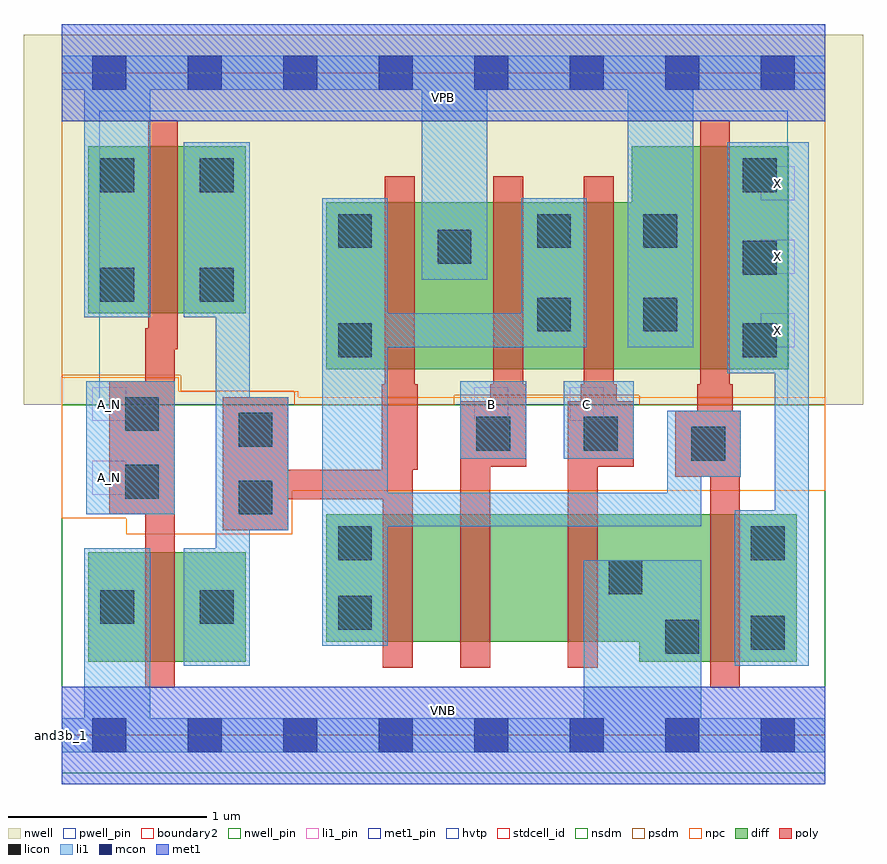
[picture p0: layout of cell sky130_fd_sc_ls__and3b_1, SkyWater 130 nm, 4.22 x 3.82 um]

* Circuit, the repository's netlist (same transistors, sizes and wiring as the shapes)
* Copyright 2020 The SkyWater PDK Authors
*
* Licensed under the Apache License, Version 2.0 (the "License");
* you may not use this file except in compliance with the License.
* You may obtain a copy of the License at
*
*     https://www.apache.org/licenses/LICENSE-2.0
*
* Unless required by applicable law or agreed to in writing, software
* distributed under the License is distributed on an "AS IS" BASIS,
* WITHOUT WARRANTIES OR CONDITIONS OF ANY KIND, either express or implied.
* See the License for the specific language governing permissions and
* limitations under the License.
*
* SPDX-License-Identifier: Apache-2.0

.SUBCKT sky130_fd_sc_ls__and3b_1 A_N B C VGND VNB VPB VPWR X
*.PININFO A_N:I B:I C:I VGND:I VNB:I VPB:I VPWR:I X:O
MMP0 y A VPWR VPB sky130_fd_pr__pfet_01v8_hvt m=1 w=0.84U l=0.15U mult=1 sa=0.265
+ sb=0.265 sd=0.28 area=0.063 perim=1.14
MMP1 y B VPWR VPB sky130_fd_pr__pfet_01v8_hvt m=1 w=0.84U l=0.15U mult=1 sa=0.265
+ sb=0.265 sd=0.28 area=0.063 perim=1.14
MMP2 y C VPWR VPB sky130_fd_pr__pfet_01v8_hvt m=1 w=0.84U l=0.15U mult=1 sa=0.265
+ sb=0.265 sd=0.28 area=0.063 perim=1.14
MMIP0 A A_N VPWR VPB sky130_fd_pr__pfet_01v8_hvt m=1 w=0.84U l=0.15U mult=1 sa=0.265
+ sb=0.265 sd=0.28 area=0.063 perim=1.14
MMIP1 X y VPWR VPB sky130_fd_pr__pfet_01v8_hvt m=1 w=1.12U l=0.15U mult=1 sa=0.265
+ sb=0.265 sd=0.28 area=0.063 perim=1.14
MMN0 y A sndA VNB sky130_fd_pr__nfet_01v8 m=1 w=0.64U l=0.15U mult=1 sa=0.265 sb=0.265
+ sd=0.28 area=0.063 perim=1.14
MMN1 sndA B sndB VNB sky130_fd_pr__nfet_01v8 m=1 w=0.64U l=0.15U mult=1 sa=0.265
+ sb=0.265 sd=0.28 area=0.063 perim=1.14
MMN2 sndB C VGND VNB sky130_fd_pr__nfet_01v8 m=1 w=0.64U l=0.15U mult=1 sa=0.265
+ sb=0.265 sd=0.28 area=0.063 perim=1.14
MMIN0 A A_N VGND VNB sky130_fd_pr__nfet_01v8 m=1 w=0.55U l=0.15U mult=1 sa=0.265
+ sb=0.265 sd=0.28 area=0.063 perim=1.14
MMIN1 X y VGND VNB sky130_fd_pr__nfet_01v8 m=1 w=0.74U l=0.15U mult=1 sa=0.265
+ sb=0.265 sd=0.28 area=0.063 perim=1.14
.ENDS sky130_fd_sc_ls__and3b_1

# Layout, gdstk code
import gdstk
lib = gdstk.Library(unit=1e-6, precision=1e-09)
def R(c, l, rs):  # rectangles x0, y0, x1, y1
    for r in rs: c.add(gdstk.rectangle(r[:2], r[2:], *l))
def A(c, l, x, y, w, h, nx, ny, dx, dy):  # array of equal rectangles
    R(c, l, [(x+i*dx, y+j*dy, x+i*dx+w, y+j*dy+h) for i in range(nx) for j in range(ny)])
def P(c, l, *ps):  # polygons
    for p in ps: c.add(gdstk.Polygon(p, *l))
nwell_pin = (64, 16)
nwell = (64, 20)
diff = (65, 20)
poly = (66, 20)
licon = (66, 44)
li1_pin = (67, 16)
li1 = (67, 20)
mcon = (67, 44)
met1_pin = (68, 16)
met1 = (68, 20)
hvtp = (78, 44)
stdcell_id = (81, 4)
nsdm = (93, 44)
psdm = (94, 20)
npc = (95, 20)
pwell_pin = (122, 16)
boundary2 = (236, 0)

sky130_fd_sc_ls__and3b_1 = lib.new_cell('sky130_fd_sc_ls__and3b_1')
R(sky130_fd_sc_ls__and3b_1, nwell_pin, [(0,3.085,3.84,3.33)])
R(sky130_fd_sc_ls__and3b_1, nwell, [(-0.19,1.66,4.03,3.52)])
R(sky130_fd_sc_ls__and3b_1, diff, [(0.135,0.37,0.925,0.92), (0.135,2.12,0.925,2.96)])
P(sky130_fd_sc_ls__and3b_1, diff, [(3.655,2.96),(2.865,2.96),(2.865,2.68),(1.33,2.68),(1.33,1.84),(3.655,1.84)],
  [(3.695,1.11),(1.33,1.11),(1.33,0.47),(2.905,0.47),(2.905,0.37),(3.695,0.37)])
P(sky130_fd_sc_ls__and3b_1, poly, [(2.875,1.68),(2.79,1.68),(2.79,1.765),(2.775,1.765),(2.775,2.81),(2.625,2.81),(2.625,1.765),(2.61,1.765),(2.61,1.68),(2.545,1.68),(2.545,0.34),(2.695,0.34),(2.695,1.35),(2.875,1.35)],
  [(3.415,1.63),(3.375,1.63),(3.375,1.765),(3.36,1.765),(3.36,3.09),(3.21,3.09),(3.21,1.765),(3.195,1.765),(3.195,1.63),(3.085,1.63),(3.085,1.3),(3.26,1.3),(3.26,0.24),(3.41,0.24),(3.41,1.3),(3.415,1.3)],
  [(0.585,3.09),(0.435,3.09),(0.435,2.045),(0.42,2.045),(0.42,1.78),(0.24,1.78),(0.24,1.11),(0.42,1.11),(0.42,0.24),(0.57,0.24),(0.57,1.94),(0.585,1.94)],
  [(1.79,1.765),(1.775,1.765),(1.775,2.81),(1.625,2.81),(1.625,1.765),(1.61,1.765),(1.61,1.335),(1.14,1.335),(1.14,1.7),(0.81,1.7),(0.81,1.03),(1.14,1.03),(1.14,1.185),(1.615,1.185),(1.615,0.34),(1.765,0.34),(1.765,1.335),(1.79,1.335)],
  [(2.335,1.765),(2.32,1.765),(2.32,2.81),(2.17,2.81),(2.17,1.765),(2.155,1.765),(2.155,1.68),(2.005,1.68),(2.005,0.34),(2.155,0.34),(2.155,1.35),(2.335,1.35)])
A(sky130_fd_sc_ls__and3b_1, licon, 3.425, 1.9, 0.17, 0.17, 1, 3, 0, 0.415)
R(sky130_fd_sc_ls__and3b_1, licon, [(3.035,0.41,3.205,0.58), (3.465,0.43,3.635,0.6), (1.39,0.53,1.56,0.7), (0.195,0.56,0.365,0.73), (0.695,0.56,0.865,0.73), (2.75,0.71,2.92,0.88), (1.39,0.88,1.56,1.05), (3.465,0.88,3.635,1.05), (0.89,1.11,1.06,1.28), (0.32,1.19,0.49,1.36), (3.165,1.38,3.335,1.55), (2.085,1.43,2.255,1.6), (2.625,1.43,2.795,1.6), (0.89,1.45,1.06,1.62), (0.32,1.53,0.49,1.7), (1.39,1.9,1.56,2.07), (2.39,2.03,2.56,2.2), (2.925,2.03,3.095,2.2), (0.195,2.18,0.365,2.35), (0.695,2.18,0.865,2.35), (1.89,2.37,2.06,2.54), (1.39,2.45,1.56,2.62), (2.39,2.45,2.56,2.62), (2.925,2.45,3.095,2.62), (0.195,2.73,0.365,2.9), (0.695,2.73,0.865,2.9)])
A(sky130_fd_sc_ls__and3b_1, li1_pin, 3.515, 1.95, 0.17, 0.17, 1, 3, 0, 0.37)
R(sky130_fd_sc_ls__and3b_1, li1_pin, [(0.155,1.21,0.325,1.38), (0.155,1.58,0.325,1.75), (2.075,1.58,2.245,1.75), (2.555,1.58,2.725,1.75)])
R(sky130_fd_sc_ls__and3b_1, li1, [(0.125,1.11,0.57,1.78), (2.005,1.39,2.335,1.78), (2.525,1.39,2.875,1.78)])
P(sky130_fd_sc_ls__and3b_1, li1, [(0.115,2.1),(0.115,3.245),(0,3.245),(0,3.415),(3.84,3.415),(3.84,3.245),(3.175,3.245),(3.175,1.95),(2.845,1.95),(2.845,3.245),(2.14,3.245),(2.14,2.29),(1.81,2.29),(1.81,3.245),(0.445,3.245),(0.445,2.1)],
  [(0.115,0.085),(0.115,0.94),(0.445,0.94),(0.445,0.085),(2.625,0.085),(2.625,0.88),(3.215,0.88),(3.215,0.085),(3.84,0.085),(3.84,-0.085),(0,-0.085),(0,0.085)],
  [(3.345,1.82),(3.345,2.98),(3.755,2.98),(3.755,0.35),(3.385,0.35),(3.385,1.13),(3.585,1.13),(3.585,1.82)],
  [(0.615,0.35),(0.615,0.94),(0.775,0.94),(0.775,2.1),(0.615,2.1),(0.615,2.98),(0.945,2.98),(0.945,1.7),(1.14,1.7),(1.14,1.03),(0.945,1.03),(0.945,0.35)],
  [(3.215,1.05),(1.64,1.05),(1.64,0.45),(1.31,0.45),(1.31,2.7),(1.64,2.7),(1.64,2.12),(2.31,2.12),(2.31,2.7),(2.64,2.7),(2.64,1.95),(1.64,1.95),(1.64,1.22),(3.045,1.22),(3.045,1.63),(3.415,1.63),(3.415,1.3),(3.215,1.3)])
A(sky130_fd_sc_ls__and3b_1, mcon, 0.155, -0.085, 0.17, 0.17, 8, 2, 0.48, 3.33)
R(sky130_fd_sc_ls__and3b_1, met1_pin, [(0,0,3.84,0.245), (0,3.085,3.84,3.33)])
R(sky130_fd_sc_ls__and3b_1, met1, [(0,-0.245,3.84,0.245), (0,3.085,3.84,3.575)])
R(sky130_fd_sc_ls__and3b_1, hvtp, [(0.19,1.66,3.65,3.14)])
R(sky130_fd_sc_ls__and3b_1, stdcell_id, [(0,0,3.84,3.33)])
R(sky130_fd_sc_ls__and3b_1, nsdm, [(0,-0.19,3.84,1.66)])
P(sky130_fd_sc_ls__and3b_1, psdm, [(3.84,3.52),(0,3.52),(0,1.81),(0.6,1.81),(0.6,1.73),(1.17,1.73),(1.17,1.66),(1.975,1.66),(1.975,1.71),(2.905,1.71),(2.905,1.66),(3.84,1.66)])
P(sky130_fd_sc_ls__and3b_1, npc, [(3.84,1.7),(1.19,1.7),(1.19,1.73),(0.59,1.73),(0.59,1.8),(0,1.8),(0,1.09),(0.325,1.09),(0.325,1.01),(1.16,1.01),(1.16,1.23),(3.84,1.23)])
R(sky130_fd_sc_ls__and3b_1, pwell_pin, [(0,0,3.84,0.245)])
R(sky130_fd_sc_ls__and3b_1, boundary2, [(0,0,3.84,3.33)])
sky130_fd_sc_ls__and3b_1.add(gdstk.Label('and3b_1', (0,0), layer=83, texttype=44))
sky130_fd_sc_ls__and3b_1.add(gdstk.Label('VNB', (1.92,0.123), layer=64, texttype=59))
sky130_fd_sc_ls__and3b_1.add(gdstk.Label('VPB', (1.92,3.208), layer=64, texttype=5))
sky130_fd_sc_ls__and3b_1.add(gdstk.Label('VPWR', (1.92,3.208), layer=68, texttype=5))
sky130_fd_sc_ls__and3b_1.add(gdstk.Label('VGND', (1.92,0.123), layer=68, texttype=5))
sky130_fd_sc_ls__and3b_1.add(gdstk.Label('X', (3.6,2.035), layer=67, texttype=5))
sky130_fd_sc_ls__and3b_1.add(gdstk.Label('X', (3.6,2.405), layer=67, texttype=5))
sky130_fd_sc_ls__and3b_1.add(gdstk.Label('X', (3.6,2.775), layer=67, texttype=5))
sky130_fd_sc_ls__and3b_1.add(gdstk.Label('A_N', (0.24,1.295), layer=67, texttype=5))
sky130_fd_sc_ls__and3b_1.add(gdstk.Label('A_N', (0.24,1.665), layer=67, texttype=5))
sky130_fd_sc_ls__and3b_1.add(gdstk.Label('C', (2.64,1.665), layer=67, texttype=5))
sky130_fd_sc_ls__and3b_1.add(gdstk.Label('B', (2.16,1.665), layer=67, texttype=5))

lib.write_gds('sky130_fd_sc_ls__and3b_1.gds')
